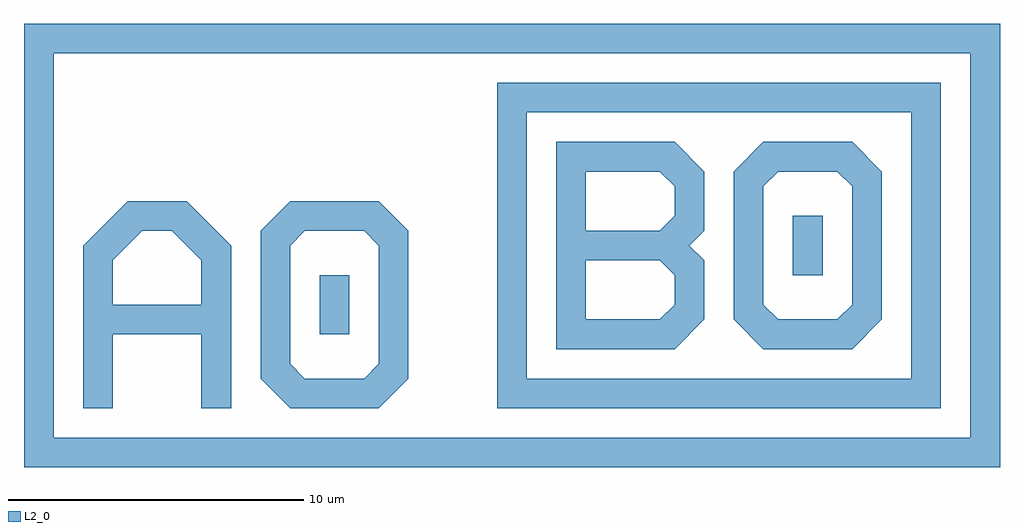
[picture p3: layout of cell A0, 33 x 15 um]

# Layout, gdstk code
import gdstk
lib = gdstk.Library(unit=1e-6, precision=5e-09)
def R(c, l, rs):  # rectangles x0, y0, x1, y1
    for r in rs: c.add(gdstk.rectangle(r[:2], r[2:], *l))
def P(c, l, *ps):  # polygons
    for p in ps: c.add(gdstk.Polygon(p, *l))
L2_0 = (2, 0)

text_32 = lib.new_cell('TEXT$32')
R(text_32, L2_0, [(8,2.5,9,4.5)])
P(text_32, L2_0, [(0,0),(0,5.5),(1.5,7),(3.5,7),(4.5,6),(2,6),(1,5),(1,3.5),(4,3.5),(4,5),(3,6),(4.5,6),(5,5.5),(5,0),(4,0),(4,2.5),(1,2.5),(1,0)],
  [(7,0),(6,1),(6,6),(7,7),(10,7),(11,6),(7.5,6),(7,5.5),(7,1.5),(7.5,1),(9.5,1),(10,1.5),(10,5.5),(9.5,6),(11,6),(11,1),(10,0)])

text_33 = lib.new_cell('TEXT$33')
R(text_33, L2_0, [(8,2.5,9,4.5)])
P(text_33, L2_0, [(0,0),(0,7),(4,7),(5,6),(1,6),(1,4),(3.5,4),(4,4.5),(4,5.5),(3.5,6),(5,6),(5,4),(4.5,3.5),(5,3),(1,3),(1,1),(3.5,1),(4,1.5),(4,2.5),(3.5,3),(5,3),(5,1),(4,0)],
  [(7,0),(6,1),(6,6),(7,7),(10,7),(11,6),(7.5,6),(7,5.5),(7,1.5),(7.5,1),(9.5,1),(10,1.5),(10,5.5),(9.5,6),(11,6),(11,1),(10,0)])

c_b0 = lib.new_cell('B0')
c_b0.add(gdstk.FlexPath([(0.5,0.5),(0.5,10.5),(14.5,10.5),(14.5,0.5),(0.5,0.5)], 1, ends="extended", simple_path=True, layer=2, datatype=0))  # L2_0
c_b0.add(gdstk.Reference(text_33, (2,2)))

c_a0 = lib.new_cell('A0')
c_a0.add(gdstk.FlexPath([(0.5,0.5),(0.5,14.5),(32.5,14.5),(32.5,0.5),(0.5,0.5)], 1, ends="extended", simple_path=True, layer=2, datatype=0))  # L2_0
c_a0.add(gdstk.Reference(text_32, (2,2)))
c_a0.add(gdstk.Reference(c_b0, (16,2)))

lib.write_gds('A0.gds')
